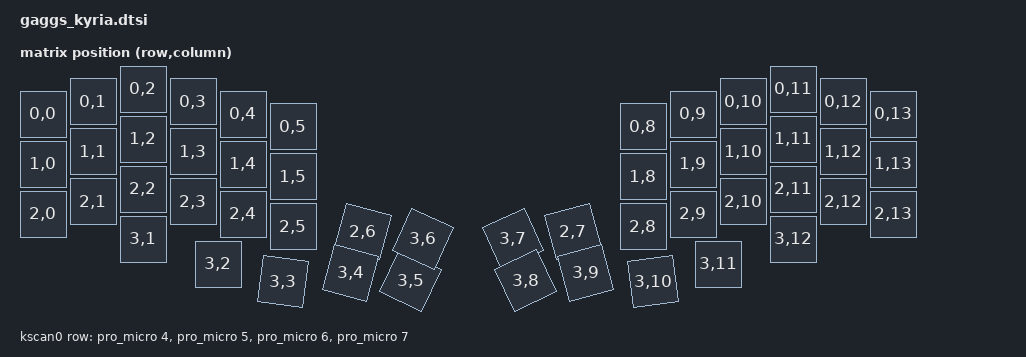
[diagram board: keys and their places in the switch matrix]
#include <dt-bindings/zmk/matrix_transform.h>
#include <physical_layouts.dtsi>
#include <dt-bindings/gpio/gpio.h>

/ {
    chosen {
        zmk,kscan = &kscan0;
        zmk,physical-layout = &gaggs_kyria_layout;
    };

    zmk_studio: zmk_studio {
        compatible = "zmk,studio";
    };

    gaggs_kyria_layout: gaggs_kyria_layout {
        compatible = "zmk,physical-layout";
        display-name = "Gaggs Kyria Layout";
        transform = <&default_transform>; 
        kscan = <&kscan0>;

        /*
         * 매트릭스 맵 순서와 1:1 대응 (총 50키)
         *   Row 0: RC(0,0-5) left 6  + RC(0,8-13) right 6       = 12
         *   Row 1: RC(1,0-5) left 6  + RC(1,8-13) right 6       = 12
         *   Row 2: RC(2,0-5) left 6  + RC(2,6) inner-L           =
         *          RC(2,7) inner-R   + RC(2,8-13) right 6        = 14
         *   Row 3: RC(3,1-6) left thumb 6 + RC(3,7-12) right 6  = 12
         *                                                          ---
         *                                                           50
         *
         * key_physical_attrs: w h x y rot rx ry   (centiunits; rot=centidegrees)
         */
        keys
            /* ── Row 0: 왼쪽 RC(0,0)~RC(0,5) ── */
            = <&key_physical_attrs 100 100    0  50    0    0    0>
            , <&key_physical_attrs 100 100  100  25    0    0    0>
            , <&key_physical_attrs 100 100  200   0    0    0    0>
            , <&key_physical_attrs 100 100  300  25    0    0    0>
            , <&key_physical_attrs 100 100  400  50    0    0    0>
            , <&key_physical_attrs 100 100  500  75    0    0    0>
            /* ── Row 0: 오른쪽 RC(0,8)~RC(0,13) ── */
            , <&key_physical_attrs 100 100 1200  75    0    0    0>
            , <&key_physical_attrs 100 100 1300  50    0    0    0>
            , <&key_physical_attrs 100 100 1400  25    0    0    0>
            , <&key_physical_attrs 100 100 1500   0    0    0    0>
            , <&key_physical_attrs 100 100 1600  25    0    0    0>
            , <&key_physical_attrs 100 100 1700  50    0    0    0>

            /* ── Row 1: 왼쪽 RC(1,0)~RC(1,5) ── */
            , <&key_physical_attrs 100 100    0 150    0    0    0>
            , <&key_physical_attrs 100 100  100 125    0    0    0>
            , <&key_physical_attrs 100 100  200 100    0    0    0>
            , <&key_physical_attrs 100 100  300 125    0    0    0>
            , <&key_physical_attrs 100 100  400 150    0    0    0>
            , <&key_physical_attrs 100 100  500 175    0    0    0>
            /* ── Row 1: 오른쪽 RC(1,8)~RC(1,13) ── */
            , <&key_physical_attrs 100 100 1200 175    0    0    0>
            , <&key_physical_attrs 100 100 1300 150    0    0    0>
            , <&key_physical_attrs 100 100 1400 125    0    0    0>
            , <&key_physical_attrs 100 100 1500 100    0    0    0>
            , <&key_physical_attrs 100 100 1600 125    0    0    0>
            , <&key_physical_attrs 100 100 1700 150    0    0    0>

            /* ── Row 2: 왼쪽 RC(2,0)~RC(2,5) ── */
            , <&key_physical_attrs 100 100    0 250    0    0    0>
            , <&key_physical_attrs 100 100  100 225    0    0    0>
            , <&key_physical_attrs 100 100  200 200    0    0    0>
            , <&key_physical_attrs 100 100  300 225    0    0    0>
            , <&key_physical_attrs 100 100  400 250    0    0    0>
            , <&key_physical_attrs 100 100  500 275    0    0    0>
            /* ── Row 2: 왼쪽 inner-extension RC(2,6) S ── */
            , <&key_physical_attrs 100 100  640 285 1500  690  335>
            /* ── Row 2: 오른쪽 inner-extension RC(2,7) M ── */
            , <&key_physical_attrs 100 100 1060 285 (-1500) 1110  335>
            /* ── Row 2: 오른쪽 RC(2,8)~RC(2,13) ── */
            , <&key_physical_attrs 100 100 1200 275    0    0    0>
            , <&key_physical_attrs 100 100 1300 250    0    0    0>
            , <&key_physical_attrs 100 100 1400 225    0    0    0>
            , <&key_physical_attrs 100 100 1500 200    0    0    0>
            , <&key_physical_attrs 100 100 1600 225    0    0    0>
            , <&key_physical_attrs 100 100 1700 250    0    0    0>

            /* ── Row 3 왼쪽 엄지 RC(3,1)~RC(3,6) ── */
            , <&key_physical_attrs 100 100  200 300    0    0    0>    /* RC(3,1) T : O(x=200,y=200) 바로 아래 */
            , <&key_physical_attrs 100 100  350 350    0    0    0>    /* RC(3,2) U : P(300)~Q(400) 중간 x=350 */
            , <&key_physical_attrs 100 100  480 385  750  530  435>    /* RC(3,3) V : y 아래로 */
            , <&key_physical_attrs 100 100  615 368 1500  665  418>    /* RC(3,4) W : S 바로 아래 (왼쪽+위), 15° */
            , <&key_physical_attrs 100 100  735 383 2500  785  433>    /* RC(3,5) X : Y+(Δx=-25,Δy=+83), S→W과 동일 데델타 */
            , <&key_physical_attrs 100 100  760 300 2500  810  350>    /* RC(3,6) Y : 25°, y 아래로 */
            /* ── Row 3 오른쪽 엄지 RC(3,7)~RC(3,12) ── */
            , <&key_physical_attrs 100 100  940 300 (-2500)  990  350>    /* RC(3,7) T': Y 대칭, -25° */
            , <&key_physical_attrs 100 100  965 383 (-2500) 1015  433>    /* RC(3,8) U': X 거울, x=1800-735-100 */
            , <&key_physical_attrs 100 100 1085 368 (-1500) 1135  418>    /* RC(3,9) V': W 대칭, -15° */
            , <&key_physical_attrs 100 100 1220 385 (-750) 1270  435>    /* RC(3,10) W': V 대칭, -7.5° */
            , <&key_physical_attrs 100 100 1350 350    0    0    0>    /* RC(3,11) X': U(x=350) 대칭 */
            , <&key_physical_attrs 100 100 1500 300    0    0    0>    /* RC(3,12) Y': T(y=300) 대칭 */
            ;
    };

    default_transform: keymap_transform_0 {
        compatible = "zmk,matrix-transform";
        columns = <14>;
        rows = <4>;
          map = <
RC(0,0) RC(0,1) RC(0,2) RC(0,3) RC(0,4) RC(0,5)                          RC(0,8) RC(0,9) RC(0,10) RC(0,11) RC(0,12) RC(0,13)
RC(1,0) RC(1,1) RC(1,2) RC(1,3) RC(1,4) RC(1,5)                          RC(1,8) RC(1,9) RC(1,10) RC(1,11) RC(1,12) RC(1,13)
RC(2,0) RC(2,1) RC(2,2) RC(2,3) RC(2,4) RC(2,5) RC(2,6)        RC(2,7)   RC(2,8) RC(2,9) RC(2,10) RC(2,11) RC(2,12) RC(2,13)
        RC(3,1) RC(3,2) RC(3,3) RC(3,4) RC(3,5) RC(3,6)        RC(3,7)   RC(3,8) RC(3,9) RC(3,10) RC(3,11) RC(3,12)
        >;
    };

    kscan0: kscan {
        compatible = "zmk,kscan-gpio-matrix";
        label = "KSCAN";
        diode-direction = "col2row";
        wakeup-source;

        row-gpios
        = <&pro_micro 4 (GPIO_ACTIVE_HIGH | GPIO_PULL_DOWN)>
        , <&pro_micro 5 (GPIO_ACTIVE_HIGH | GPIO_PULL_DOWN)>
        , <&pro_micro 6 (GPIO_ACTIVE_HIGH | GPIO_PULL_DOWN)>
        , <&pro_micro 7 (GPIO_ACTIVE_HIGH | GPIO_PULL_DOWN)>
        ;
    };
};
